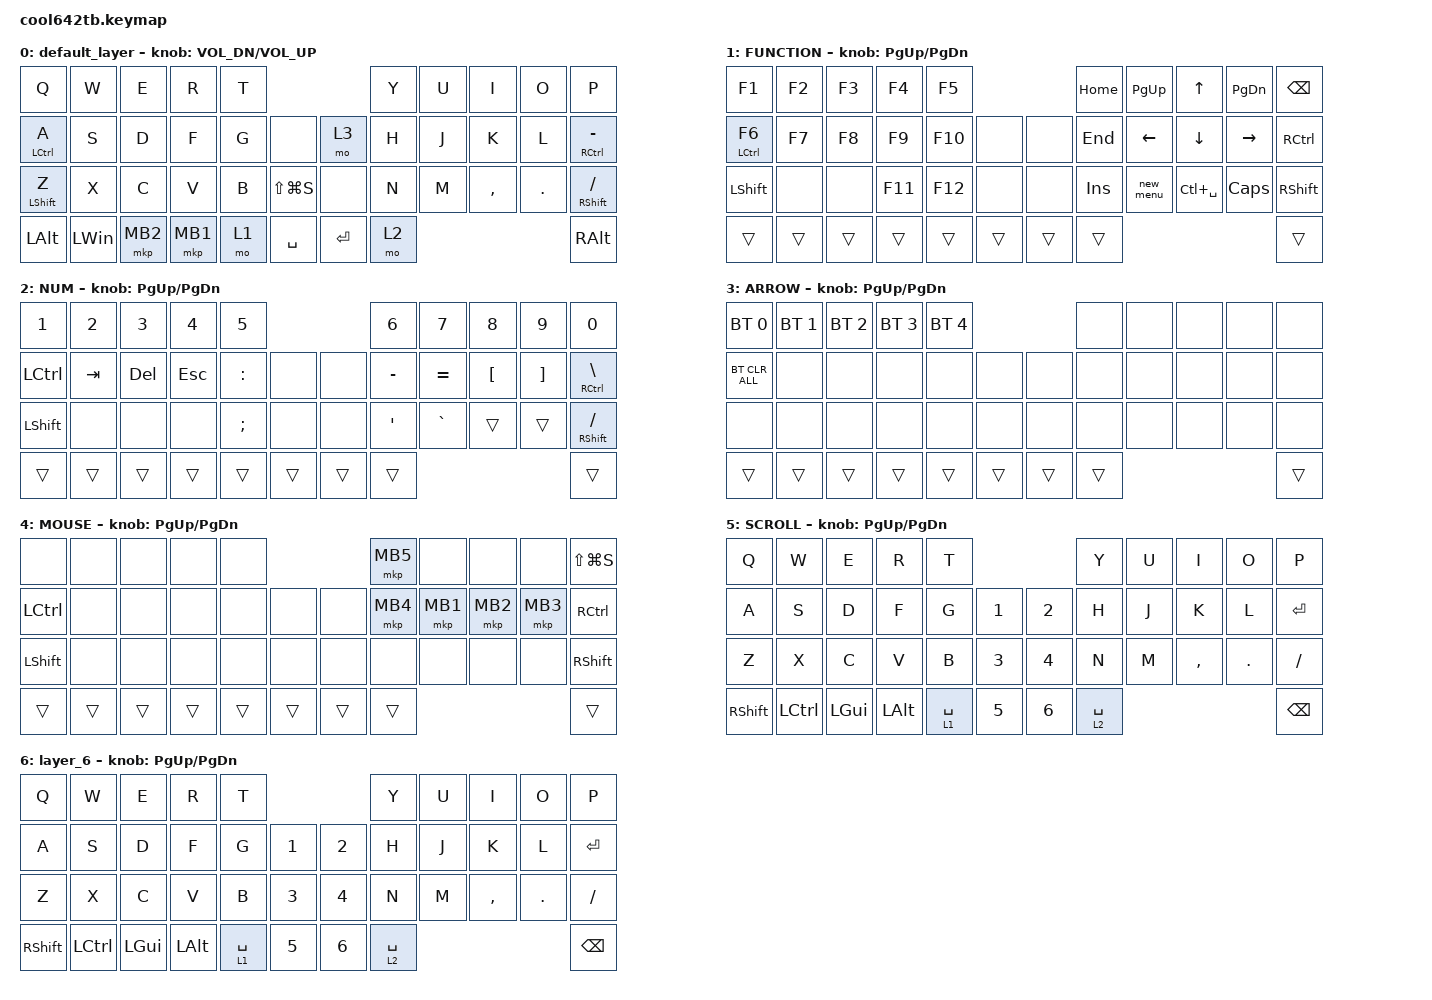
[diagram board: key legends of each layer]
#include <behaviors.dtsi>
#include <dt-bindings/zmk/bt.h>
#include <dt-bindings/zmk/keys.h>
#include <dt-bindings/zmk/pointing.h>

#define ZMK_MOUSE_DEFAULT_SCRL_VAL 100
#define MOUSE 4
#define SCROLL 5
#define NUM 6

&mt {
    flavor = "balanced";
    quick-tap-ms = <0>;
};

/ {
    combos {
        compatible = "zmk,combos";

        comb1 {
            bindings = <&kp TAB>;
            key-positions = <11 10>;
        };

        comb2 {
            bindings = <&kp LS(ESCAPE)>;
            key-positions = <0 1>;
        };

        comb3 {
            bindings = <&kp CAPSLOCK>;
            key-positions = <22 23>;
        };

        comb4 {
            bindings = <&kp BACKSPACE>;
            key-positions = <9 8>;
        };
    };

    macros {
        to_layer_0: to_layer_0 {
            compatible = "zmk,behavior-macro-one-param";
            #binding-cells = <1>;
            bindings = <&to 0 &macro_param_1to1 &kp MACRO_PLACEHOLDER>;
            label = "TO_LAYER_0";
        };

        new_menu: new_menu {
            compatible = "zmk,behavior-macro";
            #binding-cells = <0>;
            bindings =
                <&macro_press>,
                <&kp LSHIFT>,
                <&macro_tap>,
                <&kp K_APPLICATION>,
                <&macro_release>,
                <&kp LSHIFT>;

            label = "NEW_MENU";
        };
    };

    behaviors {
        lt_to_layer_0: lt_to_layer_0 {
            compatible = "zmk,behavior-hold-tap";
            label = "LAYER_TAP_TO_0";
            bindings = <&mo>, <&to_layer_0>;

            #binding-cells = <2>;
            tapping-term-ms = <200>;
        };

        scroll_up_down: behavior_sensor_rotate_mouse_wheel_up_down {
            compatible = "zmk,behavior-sensor-rotate";
            #sensor-binding-cells = <0>;
            bindings = <&msc SCRL_UP>, <&msc SCRL_DOWN>;

            tap-ms = <20>;
        };
    };

    keymap {
        compatible = "zmk,keymap";

        default_layer {
            bindings = <
&kp Q               &kp W         &kp E     &kp R     &kp T                            &kp Y  &kp U  &kp I      &kp O       &kp P
&mt LEFT_CONTROL A  &kp S         &kp D     &kp F     &kp G  &none          &mo 3      &kp H  &kp J  &kp K      &kp L       &mt RIGHT_CONTROL MINUS
&mt LEFT_SHIFT Z    &kp X         &kp C     &kp V     &kp B  &kp LS(LG(S))  &none      &kp N  &kp M  &kp COMMA  &kp PERIOD  &mt RIGHT_SHIFT SLASH
&kp LEFT_ALT        &kp LEFT_WIN  &mkp MB2  &mkp MB1  &mo 1  &kp SPACE      &kp ENTER  &mo 2                                &kp RIGHT_ALT
            >;

            sensor-bindings = <&inc_dec_kp C_VOL_DN C_VOL_UP>;
        };

        FUNCTION {
            bindings = <
&kp F1               &kp F2  &kp F3  &kp F4   &kp F5                   &kp HOME    &kp PAGE_UP     &kp UP_ARROW    &kp PAGE_DOWN    &kp BACKSPACE
&mt LEFT_CONTROL F6  &kp F7  &kp F8  &kp F9   &kp F10  &none   &none   &kp END     &kp LEFT_ARROW  &kp DOWN_ARROW  &kp RIGHT_ARROW  &kp RIGHT_CONTROL
&kp LEFT_SHIFT       &none   &none   &kp F11  &kp F12  &none   &none   &kp INSERT  &new_menu       &kp LC(SPACE)   &kp CAPSLOCK     &kp RIGHT_SHIFT
&trans               &trans  &trans  &trans   &trans   &trans  &trans  &trans                                                       &trans
            >;

            sensor-bindings = <&inc_dec_kp PG_UP PG_DN>;
        };

        NUM {
            bindings = <
&kp NUMBER_1      &kp NUMBER_2  &kp NUMBER_3  &kp NUMBER_4  &kp N5                         &kp NUMBER_6      &kp N7     &kp N8            &kp N9             &kp N0
&kp LEFT_CONTROL  &kp TAB       &kp DELETE    &kp ESCAPE    &kp COLON      &none   &none   &kp MINUS         &kp EQUAL  &kp LEFT_BRACKET  &kp RIGHT_BRACKET  &mt RCTRL BACKSLASH
&kp LEFT_SHIFT    &none         &none         &none         &kp SEMICOLON  &none   &none   &kp SINGLE_QUOTE  &kp GRAVE  &trans            &trans             &mt RSHIFT SLASH
&trans            &trans        &trans        &trans        &trans         &trans  &trans  &trans                                                            &trans
            >;

            sensor-bindings = <&inc_dec_kp PG_UP PG_DN>;
        };

        ARROW {
            bindings = <
&bt BT_SEL 0    &bt BT_SEL 1  &bt BT_SEL 2  &bt BT_SEL 3  &bt BT_SEL 4                  &none   &none  &none  &none  &none
&bt BT_CLR_ALL  &none         &none         &none         &none         &none   &none   &none   &none  &none  &none  &none
&none           &none         &none         &none         &none         &none   &none   &none   &none  &none  &none  &none
&trans          &trans        &trans        &trans        &trans        &trans  &trans  &trans                       &trans
            >;

            sensor-bindings = <&inc_dec_kp PG_UP PAGE_DOWN>;
        };

        MOUSE {
            bindings = <
&none             &none   &none   &none   &none                   &mkp MB5  &none     &none     &none     &kp LS(LG(S))
&kp LEFT_CONTROL  &none   &none   &none   &none   &none   &none   &mkp MB4  &mkp MB1  &mkp MB2  &mkp MB3  &kp RIGHT_CONTROL
&kp LEFT_SHIFT    &none   &none   &none   &none   &none   &none   &none     &none     &none     &none     &kp RIGHT_SHIFT
&trans            &trans  &trans  &trans  &trans  &trans  &trans  &trans                                  &trans
            >;

            sensor-bindings = <&inc_dec_kp PG_UP PAGE_DOWN>;
        };

        SCROLL {
            bindings = <
&kp Q       &kp W      &kp E     &kp R     &kp T                        &kp Y        &kp U  &kp I      &kp O       &kp P
&kp A       &kp S      &kp D     &kp F     &kp G        &kp N1  &kp N2  &kp H        &kp J  &kp K      &kp L       &kp ENTER
&kp Z       &kp X      &kp C     &kp V     &kp B        &kp N3  &kp N4  &kp N        &kp M  &kp COMMA  &kp PERIOD  &kp SLASH
&kp RSHIFT  &kp LCTRL  &kp LGUI  &kp LALT  &lt 1 SPACE  &kp N5  &kp N6  &lt 2 SPACE                                &kp BSPC
            >;

            sensor-bindings = <&inc_dec_kp PG_UP PAGE_DOWN>;
        };

        layer_6 {
            bindings = <
&kp Q       &kp W      &kp E     &kp R     &kp T                        &kp Y        &kp U  &kp I      &kp O       &kp P
&kp A       &kp S      &kp D     &kp F     &kp G        &kp N1  &kp N2  &kp H        &kp J  &kp K      &kp L       &kp ENTER
&kp Z       &kp X      &kp C     &kp V     &kp B        &kp N3  &kp N4  &kp N        &kp M  &kp COMMA  &kp PERIOD  &kp SLASH
&kp RSHIFT  &kp LCTRL  &kp LGUI  &kp LALT  &lt 1 SPACE  &kp N5  &kp N6  &lt 2 SPACE                                &kp BSPC
            >;

            sensor-bindings = <&inc_dec_kp PG_UP PAGE_DOWN>;
        };
    };
};
